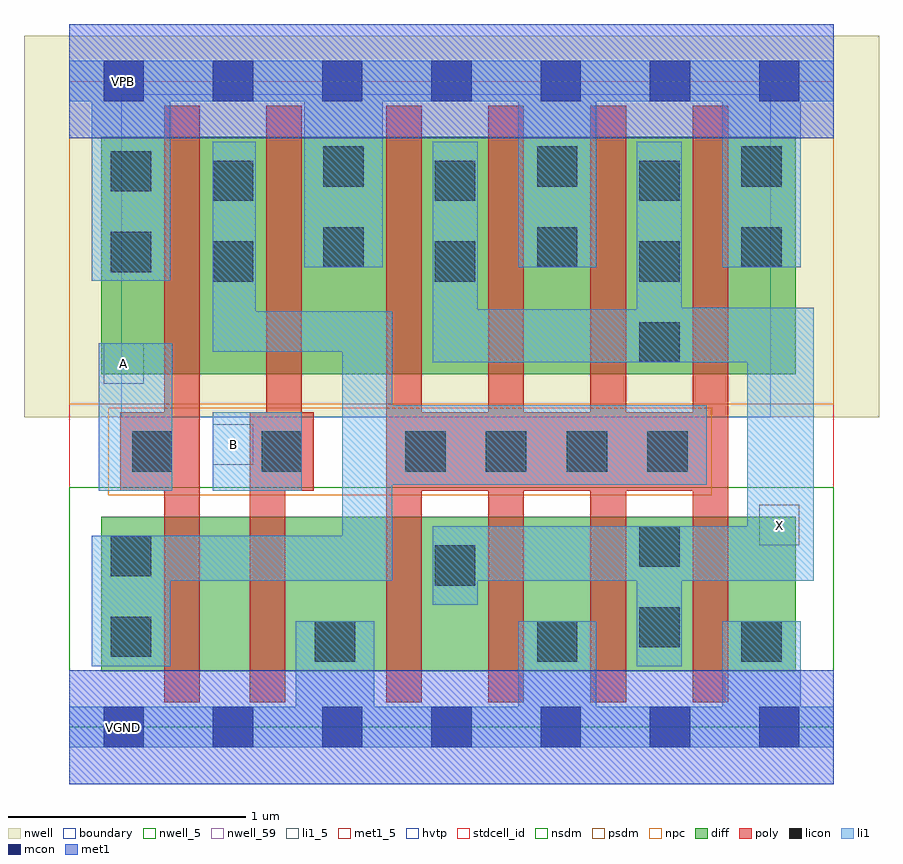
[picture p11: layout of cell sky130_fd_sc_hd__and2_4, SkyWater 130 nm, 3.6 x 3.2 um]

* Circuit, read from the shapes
.subckt sky130_fd_sc_hd__and2_4 A B VGND VNB VPB VPWR X
XM1 n1 A n2 VNB sky130_fd_pr__nfet_01v8 w=0.65 l=0.15
XM2 VGND B n1 VNB sky130_fd_pr__nfet_01v8 w=0.65 l=0.15
XM3 X n2 VGND VNB sky130_fd_pr__nfet_01v8 w=0.65 l=0.15 m=4
XM4 n2 A VPWR VPB sky130_fd_pr__pfet_01v8_hvt w=1 l=0.15
XM5 VPWR B n2 VPB sky130_fd_pr__pfet_01v8_hvt w=1 l=0.15
XM6 X n2 VPWR VPB sky130_fd_pr__pfet_01v8_hvt w=1 l=0.15 m=4
.ends

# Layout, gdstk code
import gdstk
lib = gdstk.Library(unit=1e-6, precision=1e-09)
def R(c, l, rs):  # rectangles x0, y0, x1, y1
    for r in rs: c.add(gdstk.rectangle(r[:2], r[2:], *l))
def A(c, l, x, y, w, h, nx, ny, dx, dy):  # array of equal rectangles
    R(c, l, [(x+i*dx, y+j*dy, x+i*dx+w, y+j*dy+h) for i in range(nx) for j in range(ny)])
nwell_5 = (64, 5)
nwell = (64, 20)
nwell_59 = (64, 59)
diff = (65, 20)
poly = (66, 20)
licon = (66, 44)
li1_5 = (67, 5)
li1 = (67, 20)
mcon = (67, 44)
met1_5 = (68, 5)
met1 = (68, 20)
hvtp = (78, 44)
stdcell_id = (81, 4)
nsdm = (93, 44)
psdm = (94, 20)
npc = (95, 20)
boundary = (235, 4)

sky130_fd_sc_hd__and2_4 = lib.new_cell('sky130_fd_sc_hd__and2_4')
R(sky130_fd_sc_hd__and2_4, nwell_5, [(0.145,2.635,0.315,2.805)])
R(sky130_fd_sc_hd__and2_4, nwell, [(-0.19,1.305,3.41,2.91)])
R(sky130_fd_sc_hd__and2_4, nwell_59, [(0.145,-0.085,0.315,0.085)])
R(sky130_fd_sc_hd__and2_4, diff, [(0.135,0.235,3.06,0.885), (0.135,1.485,3.06,2.485)])
A(sky130_fd_sc_hd__and2_4, poly, 1.335, 0.105, 0.15, 0.89, 4, 1, 0.43, 0)
A(sky130_fd_sc_hd__and2_4, poly, 1.335, 1.325, 0.15, 1.29, 4, 1, 0.43, 0)
R(sky130_fd_sc_hd__and2_4, poly, [(0.4,0.105,0.55,0.995), (0.76,0.105,0.91,0.995), (0.215,0.995,0.55,1.325), (0.76,0.995,1.03,1.325), (1.335,0.995,2.775,1.325), (0.4,1.325,0.55,2.615), (0.83,1.325,0.98,2.615)])
A(sky130_fd_sc_hd__and2_4, licon, 1.415, 1.075, 0.17, 0.17, 4, 1, 0.34, 0)
A(sky130_fd_sc_hd__and2_4, licon, 2.4, 1.535, 0.17, 0.17, 1, 3, 0, 0.34)
R(sky130_fd_sc_hd__and2_4, licon, [(1.035,0.275,1.205,0.445), (1.97,0.275,2.14,0.445), (2.83,0.275,3,0.445), (0.175,0.295,0.345,0.465), (2.4,0.335,2.57,0.505), (1.54,0.595,1.71,0.765), (0.175,0.635,0.345,0.805), (2.4,0.675,2.57,0.845), (0.265,1.075,0.435,1.245), (0.81,1.075,0.98,1.245), (0.605,1.875,0.775,2.045), (1.54,1.875,1.71,2.045), (0.175,1.915,0.345,2.085), (1.07,1.935,1.24,2.105), (1.97,1.935,2.14,2.105), (2.83,1.935,3,2.105), (0.605,2.215,0.775,2.385), (1.54,2.215,1.71,2.385), (0.175,2.255,0.345,2.425), (1.07,2.275,1.24,2.445), (1.97,2.275,2.14,2.445), (2.83,2.275,3,2.445)])
R(sky130_fd_sc_hd__and2_4, li1_5, [(2.905,0.765,3.075,0.935), (0.605,1.105,0.775,1.275), (0.145,1.445,0.315,1.615)])
R(sky130_fd_sc_hd__and2_4, li1, [(0,-0.085,3.22,0.085), (0.955,0.085,1.285,0.445), (1.89,0.085,2.22,0.445), (2.75,0.085,3.08,0.445), (0.095,0.255,0.425,0.615), (2.39,0.255,2.58,0.615), (1.53,0.515,1.72,0.615), (0.095,0.615,1.36,0.805), (1.53,0.615,3.135,0.845), (1.15,0.805,1.36,1.02), (2.855,0.845,3.135,1.535), (0.125,0.995,0.435,1.615), (0.605,0.995,0.98,1.325), (1.15,1.02,2.685,1.355), (1.15,1.355,1.36,1.58), (1.53,1.535,3.135,1.76), (0.605,1.58,1.36,1.75), (0.605,1.75,0.785,2.465), (1.53,1.76,1.72,2.465), (2.39,1.76,3.135,1.765), (2.39,1.765,2.58,2.465), (0.095,1.88,0.425,2.635), (0.99,1.935,1.32,2.635), (1.89,1.935,2.22,2.635), (2.75,1.935,3.08,2.635), (0,2.635,3.22,2.805)])
A(sky130_fd_sc_hd__and2_4, mcon, 0.145, -0.085, 0.17, 0.17, 7, 2, 0.46, 2.72)
R(sky130_fd_sc_hd__and2_4, met1_5, [(0.145,-0.085,0.315,0.085), (0.145,2.635,0.315,2.805)])
R(sky130_fd_sc_hd__and2_4, met1, [(0,-0.24,3.22,0.24), (0,2.48,3.22,2.96)])
R(sky130_fd_sc_hd__and2_4, hvtp, [(0.22,1.305,2.955,2.665)])
R(sky130_fd_sc_hd__and2_4, stdcell_id, [(0,0,3.22,2.72)])
R(sky130_fd_sc_hd__and2_4, nsdm, [(0,0,3.22,1.01)])
R(sky130_fd_sc_hd__and2_4, psdm, [(0,1.36,3.22,2.72)])
R(sky130_fd_sc_hd__and2_4, npc, [(0.165,0.975,2.705,1.345)])
R(sky130_fd_sc_hd__and2_4, boundary, [(0,0,3.22,2.72)])
sky130_fd_sc_hd__and2_4.add(gdstk.Label('A', (0.23,1.53), layer=67, texttype=5))
sky130_fd_sc_hd__and2_4.add(gdstk.Label('B', (0.69,1.19), layer=67, texttype=5))
sky130_fd_sc_hd__and2_4.add(gdstk.Label('VGND', (0.23,0), layer=68, texttype=5))
sky130_fd_sc_hd__and2_4.add(gdstk.Label('VNB', (0.23,0), layer=64, texttype=59))
sky130_fd_sc_hd__and2_4.add(gdstk.Label('VPB', (0.23,2.72), layer=64, texttype=5))
sky130_fd_sc_hd__and2_4.add(gdstk.Label('VPWR', (0.23,2.72), layer=68, texttype=5))
sky130_fd_sc_hd__and2_4.add(gdstk.Label('X', (2.99,0.85), layer=67, texttype=5))

lib.write_gds('sky130_fd_sc_hd__and2_4.gds')
